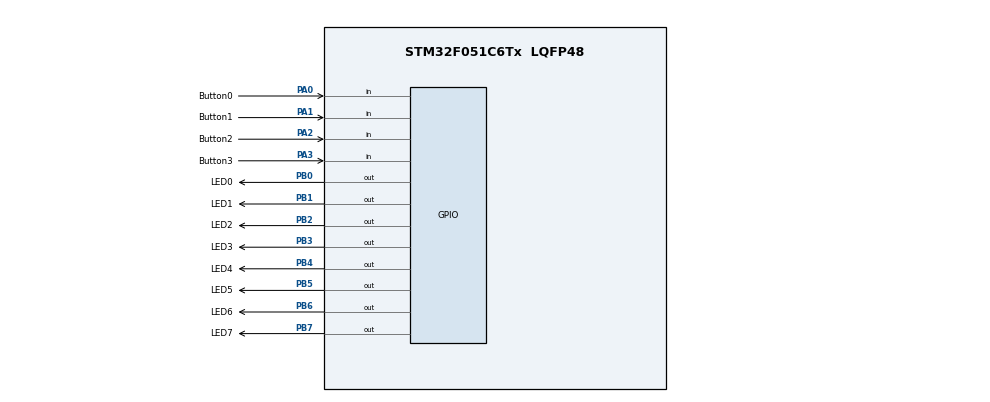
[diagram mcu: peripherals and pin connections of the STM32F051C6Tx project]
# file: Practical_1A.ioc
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Mcu.Family=STM32F0
Mcu.Name=STM32F051C6Tx
Mcu.Package=LQFP48
PA0.GPIO_Label=Button0
PA0.GPIO_Mode=GPIO_MODE_INPUT
PA0.GPIO_PuPd=GPIO_PULLUP
PA0.Signal=GPIO_Input
PA1.GPIO_Label=Button1
PA1.GPIO_PuPd=GPIO_PULLUP
PA1.Signal=GPIO_Input
PA13.Mode=Serial_Wire
PA13.Signal=SYS_SWDIO
PA14.Mode=Serial_Wire
PA14.Signal=SYS_SWCLK
PA2.GPIO_Label=Button2
PA2.GPIO_PuPd=GPIO_PULLUP
PA2.Signal=GPIO_Input
PA3.GPIO_Label=Button3
PA3.GPIO_PuPd=GPIO_PULLUP
PA3.Signal=GPIO_Input
PB0.GPIO_Label=LED0
PB0.Signal=GPIO_Output
PB1.GPIO_Label=LED1
PB1.Signal=GPIO_Output
PB2.GPIO_Label=LED2
PB2.Signal=GPIO_Output
PB3.GPIO_Label=LED3
PB3.Signal=GPIO_Output
PB4.GPIO_Label=LED4
PB4.Signal=GPIO_Output
PB5.GPIO_Label=LED5
PB5.Signal=GPIO_Output
PB6.GPIO_Label=LED6
PB6.Signal=GPIO_Output
PB7.GPIO_Label=LED7
PB7.Signal=GPIO_Output
PF0-OSC_IN.Mode=HSE-External-Oscillator
PF0-OSC_IN.Signal=RCC_OSC_IN
PF1-OSC_OUT.Mode=HSE-External-Oscillator
PF1-OSC_OUT.Signal=RCC_OSC_OUT
ProjectManager.HeapSize=0x200
ProjectManager.StackSize=0x400
ProjectManager.TargetToolchain=STM32CubeIDE
TIM16.AutoReloadPreload=TIM_AUTORELOAD_PRELOAD_ENABLE
TIM16.Period=1000-1
TIM16.Prescaler=8000-1
VP_TIM16_VS_ClockSourceINT.Mode=Enable_Timer
board=custom

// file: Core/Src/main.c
/* USER CODE BEGIN Header */
/**
  @file           : main.c
  @brief          : Multi-mode LED control with timer interrupts skeleton
  */
/* USER CODE END Header */

#include "main.h"
#include "stm32f0xx.h"
#include <stdint.h>
#include <stdlib.h>      // for rand()

TIM_HandleTypeDef htim16;

/* USER CODE BEGIN PV */
// LED arrays
GPIO_TypeDef* led_ports[8] = {GPIOB, GPIOB, GPIOB, GPIOB, GPIOB, GPIOB, GPIOB, GPIOB};
uint16_t led_pins[8] = {GPIO_PIN_0, GPIO_PIN_1, GPIO_PIN_2, GPIO_PIN_3, GPIO_PIN_4, GPIO_PIN_5, GPIO_PIN_6, GPIO_PIN_7};

// Timer event flag (set by ISR)
volatile uint8_t timer_event = 0;

// Mode enumeration
typedef enum {
    MODE_1 = 0,
    MODE_2,
    MODE_3,
    MODE_OFF
} LED_Mode;
volatile LED_Mode current_mode = MODE_OFF;

// Mode 1 & 2 shared variables
volatile uint8_t current_led = 0;
volatile int8_t direction = 1;

// Speed toggle variables
#define DEBOUNCE_MS 50
uint32_t last_button_time[4] = {0, 0, 0, 0};
uint8_t speed_state = 0;        // 0 = slow (1s), 1 = fast (0.5s)

// Mode 3 state machine
typedef enum {
    SPARKLE_IDLE = 0,
    SPARKLE_DISPLAY,
    SPARKLE_TURN_OFF
} SparkleState;

volatile SparkleState sparkle_state = SPARKLE_IDLE;
volatile uint8_t sparkle_pattern = 0;
volatile uint32_t sparkle_display_until = 0;
volatile uint32_t sparkle_next_off_time = 0;
volatile uint8_t sparkle_off_index = 0;
volatile uint8_t sparkle_leds_on[8];      // Track which LEDs are currently on
volatile uint8_t sparkle_num_leds_on = 0;

// Current period reference
uint32_t current_period_ms = 1000;
/* USER CODE END PV */

void SystemClock_Config(void);
static void MX_GPIO_Init(void);
static void MX_TIM16_Init(void);
void TIM16_IRQHandler(void);

/* USER CODE BEGIN PFP */
void clear_all_leds(void);
void turn_on_led(uint8_t index);
void turn_off_led(uint8_t index);
void change_timer_period(uint32_t new_period_ms);
void handle_buttons(void);
void set_mode(LED_Mode new_mode);
void mode1_update(void);
void mode2_update(void);
void mode3_update(void);
/* USER CODE END PFP */

/* USER CODE BEGIN 0 */
void clear_all_leds(void)
{
    /* TODO: Iterate through the LED arrays and set all pins to GPIO_PIN_RESET */
	for (int i = 0; i < 8; i++) {
		HAL_GPIO_WritePin(led_ports[i], led_pins[i], GPIO_PIN_RESET);
	}
}

void turn_on_led(uint8_t index)
{
    /* TODO: Set the specified LED pin to GPIO_PIN_SET */
	HAL_GPIO_WritePin(led_ports[index], led_pins[index], GPIO_PIN_SET);
}

void turn_off_led(uint8_t index)
{
    /* TODO: Set the specified LED pin to GPIO_PIN_RESET */
	HAL_GPIO_WritePin(led_ports[index], led_pins[index], GPIO_PIN_RESET);
}

void change_timer_period(uint32_t new_period_ms)
{
    /* TODO: Calculate the new ARR value based on the requested millisecond period */
	// Timer clock = 1000 Hz (Prescaler = 7999), so 1 tick = 1 ms.
	uint32_t new_arr = 0; // Replace 0 with your calculation.
	new_arr = new_period_ms - 1;

    /* TODO: Update the TIM16 ARR register directly */
	TIM16->ARR = new_arr;

    /* TODO: Reset the TIM16 CNT register to 0 */
	TIM16->CNT = 0;

    current_period_ms = new_period_ms;
}

void handle_buttons(void)
{
    uint32_t now = HAL_GetTick();

    /* TODO: Read the state of all four buttons (PA0 to PA3) */
    uint8_t pressed0 = (HAL_GPIO_ReadPin(GPIOA, GPIO_PIN_0) == GPIO_PIN_RESET);
    uint8_t pressed1 = (HAL_GPIO_ReadPin(GPIOA, GPIO_PIN_1) == GPIO_PIN_RESET);
    uint8_t pressed2 = (HAL_GPIO_ReadPin(GPIOA, GPIO_PIN_2) == GPIO_PIN_RESET);
    uint8_t pressed3 = (HAL_GPIO_ReadPin(GPIOA, GPIO_PIN_3) == GPIO_PIN_RESET);

    static uint8_t last_state0 = 0;
    static uint8_t last_state1 = 0;
    static uint8_t last_state2 = 0;
    static uint8_t last_state3 = 0;

    /* TODO: Implement debounce logic for PA0. Toggle the timer speed between 500ms and 1000ms. */
    if ((now - last_button_time[0] > DEBOUNCE_MS) && pressed0 && !last_state0)
    {
        last_button_time[0] = now;
        speed_state = !speed_state;
        if (speed_state == 1)
        { change_timer_period(500); }
        else
        { change_timer_period(1000); }
    }
    last_state0 = pressed0;

    /* TODO: Implement debounce logic for PA1. Call set_mode(MODE_1). */
    if ((now - last_button_time[1] > DEBOUNCE_MS) && pressed1 && !last_state1)
    {
        last_button_time[1] = now;
        set_mode(MODE_1);
    }
    last_state1 = pressed1;

    /* TODO: Implement debounce logic for PA2. Call set_mode(MODE_2). */
    if ((now - last_button_time[2] > DEBOUNCE_MS) && pressed2 && !last_state2)
    {
        last_button_time[2] = now;
        set_mode(MODE_2);
    }
    last_state2 = pressed2;

    /* TODO: Implement debounce logic for PA3. Call set_mode(MODE_3). */
    if ((now - last_button_time[3] > DEBOUNCE_MS) && pressed3 && !last_state3)
    {
        last_button_time[3] = now;
        set_mode(MODE_3);
    }
    last_state3 = pressed3;
}

void set_mode(LED_Mode new_mode)
{
    current_mode = new_mode;

    /* TODO: Clear all LEDs to ensure a clean slate */
    clear_all_leds();

    /* TODO: Reset mode-specific tracking variables (like current_led, direction, or sparkle_state) */
    current_led = 0;
    direction = 1;
    sparkle_state = SPARKLE_IDLE;
    sparkle_num_leds_on = 0;
}

void mode1_update(void)
{
    /* TODO: Implement the standard running light sequence (Task 3 logic) */
    clear_all_leds();
    turn_on_led(current_led);

    if (direction == 1)
    { current_led++; }
    else
    { current_led--; }

    if (current_led == 7)
    { direction = 0; }
    else if (current_led == 0)
    { direction = 1; }
}

void mode2_update(void)
{
    /* TODO: Implement the inverse running light sequence. All LEDs on except one. */
    for (uint8_t i = 0; i < 8; i++)
    { turn_on_led(i); }
    turn_off_led(current_led);

    if (direction == 1)
    { current_led++; }
    else
    { current_led--; }

    if (current_led == 7)
    { direction = 0; }
    else if (current_led == 0)
    { direction = 1; }
}

void mode3_update(void)
{
    uint32_t now = HAL_GetTick();

    switch (sparkle_state) {
        case SPARKLE_IDLE:
            /* TODO: Generate a random 8-bit pattern using rand() */
            sparkle_pattern = rand() % 256;

            /* TODO: Turn on the LEDs according to the generated pattern */
            /* TODO: Store the indices of the active LEDs in the sparkle_leds_on array */
            clear_all_leds();
            sparkle_num_leds_on = 0;
            for (uint8_t i = 0; i < 8; i++) {
                if (sparkle_pattern & (1 << i)) {
                    turn_on_led(i);
                    sparkle_leds_on[sparkle_num_leds_on] = i;
                    sparkle_num_leds_on++;
                }
            }

            /* TODO: Generate a random display duration between 100ms and 1500ms */
            sparkle_display_until = now + (100 + (rand() % 1401));

            /* TODO: Transition to SPARKLE_DISPLAY state */
            sparkle_state = SPARKLE_DISPLAY;
            break;

        case SPARKLE_DISPLAY:
            /* TODO: Wait for the random display duration to elapse using HAL_GetTick() */
            if (now >= sparkle_display_until)
            {
                /* TODO: Once elapsed, transition to SPARKLE_TURN_OFF state */
                sparkle_off_index = 0;

                if (sparkle_num_leds_on == 0)
                {
                    sparkle_state = SPARKLE_IDLE;
                }
                else
                {
                    sparkle_next_off_time = now + (100 + (rand() % 51)); // 100-150ms
                    sparkle_state = SPARKLE_TURN_OFF;
                }
            }
            break;

        case SPARKLE_TURN_OFF:
            /* TODO: Wait for the random turn-off delay (100ms to 150ms) to elapse */
            if (now >= sparkle_next_off_time)
            {
                /* TODO: Turn off one LED from the sparkle_leds_on array */
                turn_off_led(sparkle_leds_on[sparkle_off_index]);
                sparkle_off_index++;

                /* TODO: If all LEDs are turned off, transition back to SPARKLE_IDLE state */
                if (sparkle_off_index >= sparkle_num_leds_on)
                {
                    sparkle_state = SPARKLE_IDLE;
                }
                else
                {
                    /* TODO: Generate a new random turn-off delay for the next LED */
                    sparkle_next_off_time = now + (100 + (rand() % 51)); // 100-150ms
                }
            }
            break;

        default:
            sparkle_state = SPARKLE_IDLE;
            break;
    }
}
/* USER CODE END 0 */

int main(void)
{
    HAL_Init();
    SystemClock_Config();
    MX_GPIO_Init();
    MX_TIM16_Init();

    /* USER CODE BEGIN 2 */
    // Seed random number generator
    srand(HAL_GetTick());

    clear_all_leds();
    change_timer_period(1000);
    HAL_TIM_Base_Start_IT(&htim16);
    /* USER CODE END 2 */

    while (1)
    {
        /* USER CODE BEGIN WHILE */
        // Check for debounced button presses
        handle_buttons();

        // Handle scheduled timer events for Mode 1 and Mode 2
        if (timer_event) {
            timer_event = 0;

            switch (current_mode) {
                case MODE_1:
                    mode1_update();
                    break;
                case MODE_2:
                    mode2_update();
                    break;
                case MODE_3:
                    // Mode 3 is non-blocking and driven continuously by HAL_GetTick
                    break;
                case MODE_OFF:
                default:
                    clear_all_leds();
                    break;
            }
        }

        // Mode 3 requires continuous polling to operate its state machine delays accurately
        if (current_mode == MODE_3) {
            mode3_update();
        }
        /* USER CODE END WHILE */
    }
}

void SystemClock_Config(void)
{
    LL_FLASH_SetLatency(LL_FLASH_LATENCY_0);
    while(LL_FLASH_GetLatency() != LL_FLASH_LATENCY_0) {}

    LL_RCC_HSI_Enable();
    while(LL_RCC_HSI_IsReady() != 1) {}

    LL_RCC_HSI_SetCalibTrimming(16);
    LL_RCC_SetAHBPrescaler(LL_RCC_SYSCLK_DIV_1);
    LL_RCC_SetAPB1Prescaler(LL_RCC_APB1_DIV_1);
    LL_RCC_SetSysClkSource(LL_RCC_SYS_CLKSOURCE_HSI);
    while(LL_RCC_GetSysClkSource() != LL_RCC_SYS_CLKSOURCE_STATUS_HSI) {}

    LL_SetSystemCoreClock(8000000);

    if (HAL_InitTick(TICK_INT_PRIORITY) != HAL_OK) {
        Error_Handler();
    }
}

/**
  @brief TIM16 Initialization
*/
static void MX_TIM16_Init(void)
{
    htim16.Instance = TIM16;
    htim16.Init.Prescaler = 7999;      // 8000 - 1
    htim16.Init.CounterMode = TIM_COUNTERMODE_UP;
    htim16.Init.Period = 999;          // Will be changed dynamically
    htim16.Init.ClockDivision = TIM_CLOCKDIVISION_DIV1;
    htim16.Init.RepetitionCounter = 0;
    htim16.Init.AutoReloadPreload = TIM_AUTORELOAD_PRELOAD_ENABLE;

    if (HAL_TIM_Base_Init(&htim16) != HAL_OK) {
        Error_Handler();
    }

    NVIC_EnableIRQ(TIM16_IRQn);
}

/**
  @brief GPIO Initialization
*/
static void MX_GPIO_Init(void)
{
    __HAL_RCC_GPIOA_CLK_ENABLE();
    __HAL_RCC_GPIOB_CLK_ENABLE();

    GPIO_InitTypeDef GPIO_InitStruct = {0};

    // LEDs PB0..PB7 as outputs
    GPIO_InitStruct.Mode = GPIO_MODE_OUTPUT_PP;
    GPIO_InitStruct.Pull = GPIO_NOPULL;
    GPIO_InitStruct.Speed = GPIO_SPEED_FREQ_LOW;

    for (uint8_t i = 0; i < 8; i++) {
        GPIO_InitStruct.Pin = led_pins[i];
        HAL_GPIO_Init(led_ports[i], &GPIO_InitStruct);
    }

    // Buttons PA0..PA3 as inputs with pull-up (active low)
    GPIO_InitStruct.Pin = GPIO_PIN_0 | GPIO_PIN_1 | GPIO_PIN_2 | GPIO_PIN_3;
    GPIO_InitStruct.Mode = GPIO_MODE_INPUT;
    GPIO_InitStruct.Pull = GPIO_PULLUP;
    HAL_GPIO_Init(GPIOA, &GPIO_InitStruct);
}

/**
  @brief TIM16 interrupt handler - sets flag only
*/
void TIM16_IRQHandler(void)
{
    HAL_TIM_IRQHandler(&htim16);
    timer_event = 1;
}

/**
  @brief Error handler
*/
void Error_Handler(void)
{
    __disable_irq();
    while (1) {}
}
